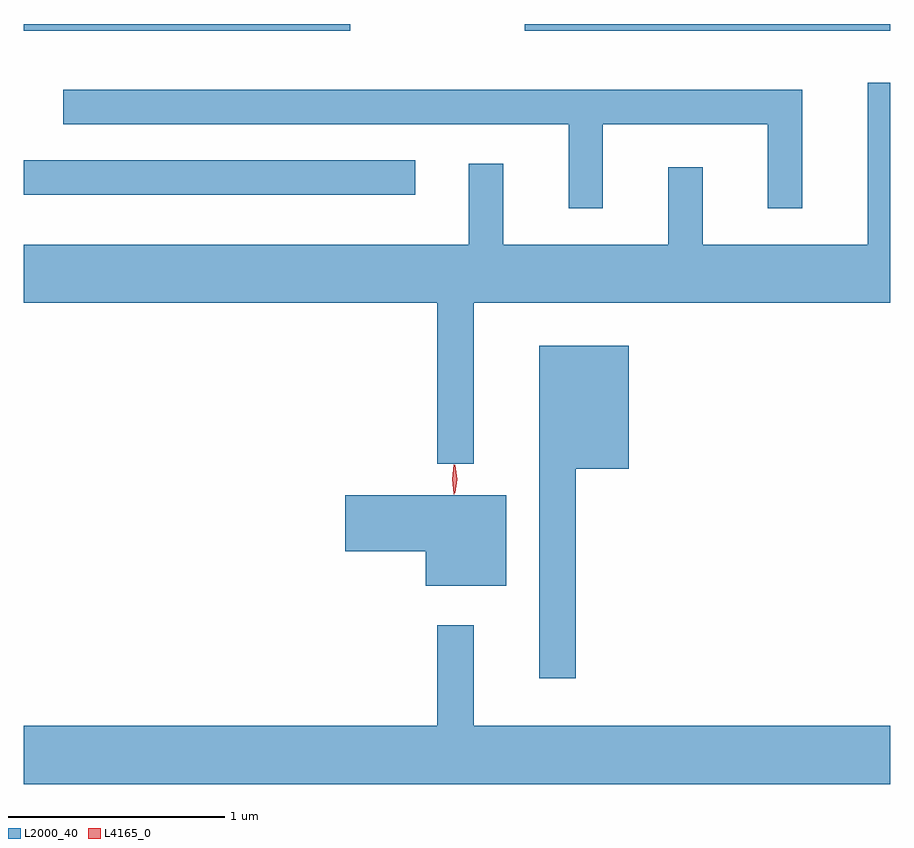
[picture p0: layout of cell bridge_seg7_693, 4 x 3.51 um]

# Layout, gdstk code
import gdstk
lib = gdstk.Library(unit=1e-6, precision=1e-09)
def R(c, l, rs):  # rectangles x0, y0, x1, y1
    for r in rs: c.add(gdstk.rectangle(r[:2], r[2:], *l))
def P(c, l, *ps):  # polygons
    for p in ps: c.add(gdstk.Polygon(p, *l))
L2000_40 = (2000, 40)
L4165_0 = (4165, 0)

bridge_seg7_693 = lib.new_cell('bridge_seg7_693')
R(bridge_seg7_693, L2000_40, [(895.721,1728.136,897.528,1728.294), (895.721,1728.891,897.228,1728.923), (898.033,1728.891,899.721,1728.923)])
P(bridge_seg7_693, L2000_40, [(897.799,1727.636),(899.721,1727.636),(899.721,1728.653),(899.616,1728.653),(899.616,1727.904),(898.854,1727.904),(898.854,1728.263),(898.696,1728.263),(898.696,1727.904),(897.934,1727.904),(897.934,1728.278),(897.776,1728.278),(897.776,1727.904),(895.721,1727.904),(895.721,1727.636),(897.631,1727.636),(897.631,1726.893),(897.799,1726.893)],
  [(898.394,1728.461),(899.156,1728.461),(899.156,1728.073),(899.314,1728.073),(899.314,1728.619),(895.903,1728.619),(895.903,1728.461),(898.236,1728.461),(898.236,1728.073),(898.394,1728.073)],
  [(898.269,1726.871),(898.514,1726.871),(898.514,1727.439),(898.101,1727.439),(898.101,1725.903),(898.269,1725.903)],
  [(897.949,1726.749),(897.206,1726.749),(897.206,1726.491),(897.576,1726.491),(897.576,1726.331),(897.949,1726.331)],
  [(899.721,1725.684),(897.799,1725.684),(897.799,1726.148),(897.631,1726.148),(897.631,1725.684),(895.721,1725.684),(895.721,1725.416),(899.721,1725.416)])
P(bridge_seg7_693, L4165_0, [(897.707,1726.754),(897.698,1726.822),(897.707,1726.89),(897.708,1726.89),(897.708,1726.89),(897.718,1726.822),(897.708,1726.754),(897.708,1726.754)],
  [(897.711,1726.76),(897.711,1726.76),(897.701,1726.823),(897.711,1726.886),(897.711,1726.887),(897.712,1726.886),(897.721,1726.823),(897.712,1726.76)])

lib.write_gds('bridge_seg7_693.gds')
